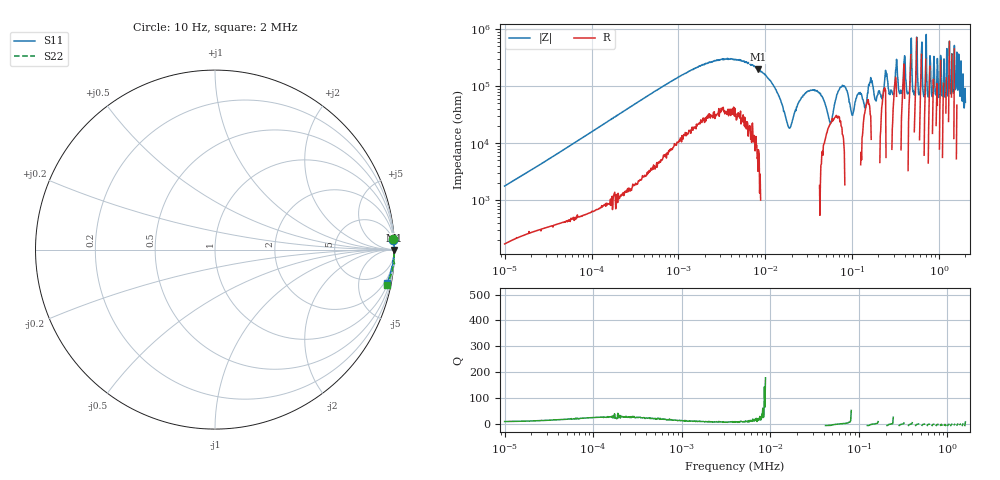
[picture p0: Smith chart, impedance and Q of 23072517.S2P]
!Agilent Technologies,E5061B,MY49204007,A.02.12
!Date: Wed Jul 23 11:30:34 2025
!Data & Calibration Information:
!Freq	S11:SOLT2(ON)	S21:SOLT2(ON)	S12:SOLT2(ON)	S22:SOLT2(ON)
# Hz S dB R 50
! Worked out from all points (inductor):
!   1040 points, 10 Hz to 2 MHz, reference 50 ohm
!   read as one part in series: L = 27.2 H near 10.69 Hz
!   highest Q = 29.5 at 8.313 kHz (marker M1), where L = 3.77 H
!   self-resonance near 18.87 kHz
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10  -0.07 3.2  -24.95 -81.1  -24.96 -81.0  -0.05 3.4
77.209  -0.01 0.5  -41.70 -87.0  -41.71 -86.9  0.01 0.7
588.818  -0.00 0.1  -58.90 -86.8  -58.93 -86.5  0.01 0.2
4498.482  -0.00 -0.0  -69.33 -84.1  -69.29 -83.7  0.01 0.2
8312.724  -0.00 -0.1  -65.88 -87.8  -66.01 -89.1  0.01 0.1
13083.52  -0.00 -0.1  -58.86 -98.1  -58.84 -98.9  0.01 0.0
18873.38  -0.05 -0.1  -45.24 -178.6  -45.25 -178.9  -0.03 0.0
34305.13  -0.00 -0.2  -58.51 95.9  -58.55 95.3  0.01 -0.0
55893.47  -0.04 -0.4  -47.01 14.3  -47.04 13.9  -0.03 -0.2
75946.9  -0.01 -0.4  -59.79 -79.2  -59.84 -78.3  0.01 -0.3
99964.22  -0.03 -0.5  -49.75 178.9  -49.90 -179.9  -0.01 -0.4
118648.7  -0.01 -0.6  -57.58 93.0  -57.32 97.5  0.01 -0.5
141827.6  -0.03 -0.7  -52.40 14.1  -52.29 11.2  -0.02 -0.7
162936.5  -0.01 -0.8  -62.97 -78.7  -62.12 -75.2  0.01 -0.8
188401.2  -0.02 -1.0  -54.74 141.2  -55.40 140.4  -0.01 -0.8
261946.5  -0.02 -1.4  -58.79 171.8  -58.13 172.6  -0.01 -1.3
327104.3  -0.02 -1.7  -67.36 -129.5  -65.67 -127.9  -0.01 -1.7
359497.9  -0.02 -1.9  -58.55 88.9  -58.25 89.6  -0.01 -1.8
395940.8  -0.02 -2.1  -69.47 -61.2  -73.52 -51.0  -0.00 -2.0
782871.3  -0.05 -4.2  -70.66 44.7  -70.33 25.7  -0.00 -4.7
1595069  -0.14 -8.6  -72.07 -92.2  -73.94 -101.9  -0.11 -9.3
2000000  -0.20 -11.0  -54.56 -122.8  -54.93 -120.1  -0.19 -11.8
